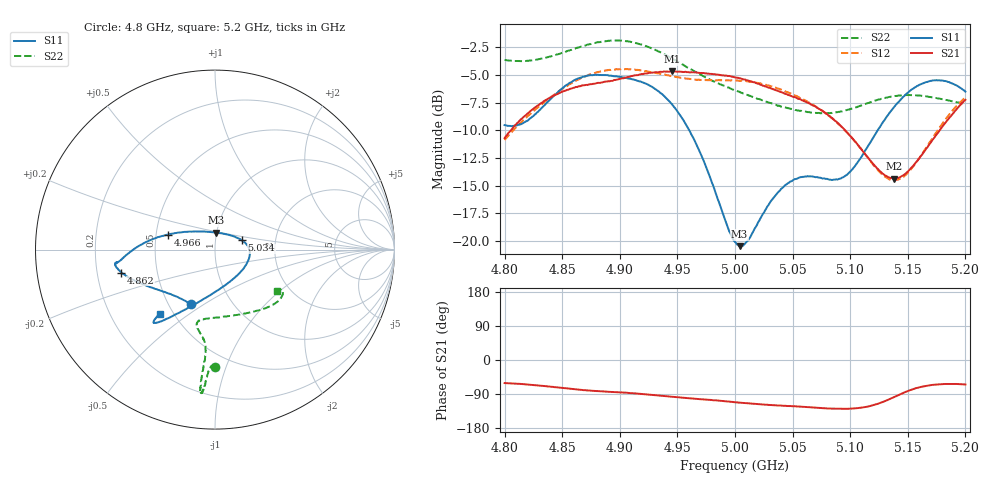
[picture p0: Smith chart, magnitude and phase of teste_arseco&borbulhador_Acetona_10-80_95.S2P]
! Network Analyzer HP8722D
! Hewlett-Packard
! Data name: Linha & Wilkinson
! Saver's name: Rodrigo Anjos
! Comments: Teste da utilização de aquisição
! continua pelo VNA HP8722D
! Time and date: 17/4/2025 15:09
!  Frequency  S11  S21  S12  S22
# HZ  S  MA R 50
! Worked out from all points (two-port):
!   401 points, 4.8 GHz to 5.2 GHz, reference 50 ohm
!   highest |S21| = -4.68 dB at 4.945 GHz (marker M1); lowest = -14.4 dB at 5.138 GHz (marker M2)
!   |S21| within 3 dB of the highest: 4.83 GHz to 5.066 GHz (236 MHz wide, 4.77 % of centre); 5.196021 GHz to end of sweep
!   lowest |S11| = -20.5 dB at 5.004 GHz (marker M3), VSWR 1.21, Z = 49.9 + j9.52 ohm
!   |S11| at or under -10 dB: 4.96 GHz to 5.124 GHz (163.6 MHz wide, 3.24 % of centre)
!   |S22| runs from -8.5 to -1.9 dB; largest |S21 - S12| = 0.88
!   S11 on the Smith chart (normalised r, x): 4.8 GHz: 0.64, -0.44; 4.862 GHz: 0.31, -0.11; 4.966 GHz: 0.58, +0.10; 5.034 GHz: 1.34, +0.14; 5.2 GHz: 0.42, -0.39
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4.8e9  0.3337 -113.8  0.2915 -60.9  0.2858 -175.1  0.6559 -90.2
4.819e9  0.3481 -133.8  0.3721 -64.4  0.3617 -173.9  0.65 -91.7
4.862e9  0.5366 -166.2  0.4961 -77.4  0.53 -177.2  0.7422 -94.1
4.867e9  0.5482 -168.2  0.5036 -79.0  0.5451 -178.2  0.7565 -94.2
4.9e9  0.5508 -172.6  0.5391 -85.5  0.5963 175.4  0.8029 -95.6
4.934e9  0.4724 -178.5  0.5785 -93.9  0.5716 171.5  0.7157 -96.1
4.945e9  0.416 176.4  0.5832 -96.9  0.5559 171.7  0.6678 -95.6
4.966e9  0.2764 162.4  0.5777 -102.3  0.5347 173.5  0.579 -95.1
5e9  0.09928 99.9  0.5474 -111.4  0.5308 176.0  0.4784 -99.3
5.004e9  0.09489 85.4  0.5425 -112.4  0.5282 175.9  0.4712 -100.2
5.012e9  0.1022 59.1  0.5285 -114.4  0.5244 175.6  0.4536 -102.0
5.034e9  0.1581 19.4  0.4829 -119.4  0.4932 174.6  0.4147 -103.5
5.05e9  0.1879 3.2  0.4488 -122.1  0.4595 173.9  0.3937 -99.5
5.067e9  0.1958 -15.0  0.4112 -125.1  0.4134 173.4  0.3799 -90.5
5.085e9  0.189 -43.2  0.3563 -128.3  0.3563 173.5  0.3799 -76.8
5.097e9  0.1986 -67.7  0.3099 -128.8  0.3105 174.6  0.39 -67.0
5.134e9  0.3782 -117.0  0.1936 -103.5  0.1899 -156.4  0.447 -43.0
5.138e9  0.4025 -119.3  0.1914 -98.0  0.1882 -150.1  0.4503 -41.2
5.151e9  0.4717 -125.0  0.2086 -80.8  0.2059 -130.2  0.456 -36.4
5.17e9  0.5286 -129.3  0.2785 -66.2  0.2836 -112.5  0.4464 -32.1
5.184e9  0.5247 -130.6  0.3495 -63.3  0.3614 -107.4  0.4326 -31.2
5.2e9  0.4724 -130.9  0.434 -64.7  0.4461 -106.7  0.4151 -33.5
